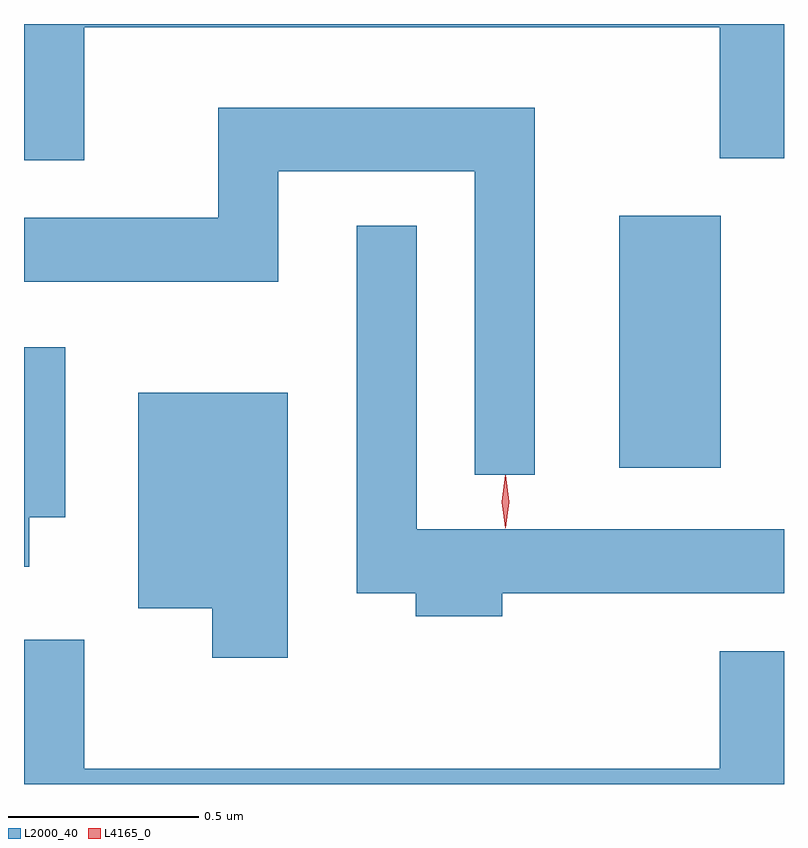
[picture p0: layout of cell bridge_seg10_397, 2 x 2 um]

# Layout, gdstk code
import gdstk
lib = gdstk.Library(unit=1e-6, precision=1e-09)
def R(c, l, rs):  # rectangles x0, y0, x1, y1
    for r in rs: c.add(gdstk.rectangle(r[:2], r[2:], *l))
def P(c, l, *ps):  # polygons
    for p in ps: c.add(gdstk.Polygon(p, *l))
L2000_40 = (2000, 40)
L4165_0 = (4165, 0)

bridge_seg10_397 = lib.new_cell('bridge_seg10_397')
R(bridge_seg10_397, L2000_40, [(1064.406,2126.076,1064.674,2126.739)])
P(bridge_seg10_397, L2000_40, [(1062.999,2127.236),(1064.671,2127.236),(1064.671,2126.891),(1064.84,2126.891),(1064.84,2127.244),(1062.84,2127.244),(1062.84,2126.886),(1062.999,2126.886)],
  [(1064.184,2127.024),(1063.351,2127.024),(1063.351,2126.734),(1062.84,2126.734),(1062.84,2126.566),(1063.509,2126.566),(1063.509,2126.856),(1064.026,2126.856),(1064.026,2126.058),(1064.184,2126.058)],
  [(1064.099,2125.746),(1064.84,2125.746),(1064.84,2125.914),(1063.874,2125.914),(1063.874,2126.713),(1063.716,2126.713),(1063.716,2125.746),(1063.871,2125.746),(1063.871,2125.686),(1064.099,2125.686)],
  [(1062.854,2125.946),(1062.949,2125.946),(1062.949,2126.394),(1062.84,2126.394),(1062.84,2125.816),(1062.854,2125.816)],
  [(1063.534,2126.274),(1063.141,2126.274),(1063.141,2125.706),(1063.336,2125.706),(1063.336,2125.576),(1063.534,2125.576)],
  [(1064.84,2125.594),(1064.671,2125.594),(1064.671,2125.284),(1062.999,2125.284),(1062.999,2125.624),(1062.84,2125.624),(1062.84,2125.244),(1064.84,2125.244)])
P(bridge_seg10_397, L4165_0, [(1064.107,2125.917),(1064.106,2125.918),(1064.097,2125.987),(1064.106,2126.056),(1064.107,2126.056),(1064.108,2126.056),(1064.117,2125.987),(1064.108,2125.918)],
  [(1064.107,2125.919),(1064.106,2125.92),(1064.097,2125.986),(1064.106,2126.053),(1064.107,2126.053),(1064.108,2126.053),(1064.117,2125.986),(1064.108,2125.92)])

lib.write_gds('bridge_seg10_397.gds')
